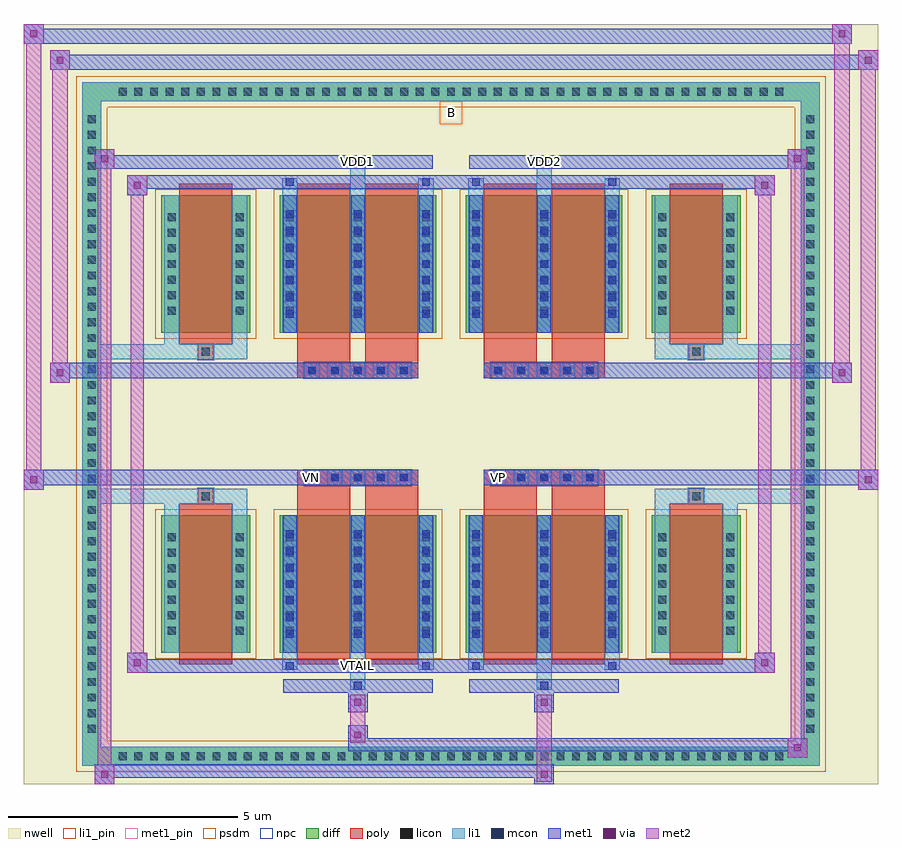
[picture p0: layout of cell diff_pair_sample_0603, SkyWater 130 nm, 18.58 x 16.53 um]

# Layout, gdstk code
import gdstk
lib = gdstk.Library(unit=1e-6, precision=5e-09)
def R(c, l, rs):  # rectangles x0, y0, x1, y1
    for r in rs: c.add(gdstk.rectangle(r[:2], r[2:], *l))
def A(c, l, x, y, w, h, nx, ny, dx, dy):  # array of equal rectangles
    R(c, l, [(x+i*dx, y+j*dy, x+i*dx+w, y+j*dy+h) for i in range(nx) for j in range(ny)])
def P(c, l, *ps):  # polygons
    for p in ps: c.add(gdstk.Polygon(p, *l))
nwell = (64, 20)
diff = (65, 20)
poly = (66, 20)
licon = (66, 44)
li1_pin = (67, 16)
li1 = (67, 20)
mcon = (67, 44)
met1_pin = (68, 16)
met1 = (68, 20)
via = (68, 44)
met2 = (69, 20)
psdm = (94, 20)
npc = (95, 20)

diff_pair_sample_0603 = lib.new_cell('diff_pair_sample_0603')
R(diff_pair_sample_0603, nwell, [(-9.29,-7.83,9.29,8.7), (-6.61,-6.02,-0.01,-0.8), (0.01,-6.02,6.61,-0.8), (-6.61,0.8,-0.01,6.02), (0.01,0.8,6.61,6.02)])
A(diff_pair_sample_0603, diff, -7.345, -7.43, 0.41, 0.41, 43, 2, 0.34, 14.45)
A(diff_pair_sample_0603, diff, -8.02, -6.835, 0.41, 0.41, 1, 40, 0, 0.34)
A(diff_pair_sample_0603, diff, 7.61, -6.835, 0.41, 0.41, 1, 40, 0, 0.34)
R(diff_pair_sample_0603, diff, [(-7.345,-7.43,7.345,-7.02), (-8.02,-6.835,-7.61,6.835), (7.61,-6.835,8.02,6.835), (-6.3,-4.975,-4.37,-1.985), (-3.73,-4.975,-0.32,-1.985), (0.32,-4.975,3.73,-1.985), (4.37,-4.975,6.3,-1.985), (-6.3,1.985,-4.37,4.975), (-3.73,1.985,-0.32,4.975), (0.32,1.985,3.73,4.975), (4.37,1.985,6.3,4.975), (-7.345,7.02,7.345,7.43)])
P(diff_pair_sample_0603, diff, [(8.02,7.43),(-8.02,7.43),(-8.02,-7.02),(-7.61,-7.02),(-7.61,7.02),(7.61,7.02),(7.61,-7.02),(-7.61,-7.02),(-8.02,-7.02),(-8.02,-7.43),(8.02,-7.43)])
A(diff_pair_sample_0603, poly, -3.19, -1.33, 0.33, 0.33, 5, 2, 0.5, 2.33)
A(diff_pair_sample_0603, poly, 0.86, -1.33, 0.33, 0.33, 5, 2, 0.5, 2.33)
R(diff_pair_sample_0603, poly, [(-5.91,-5.225,-4.76,-1.735), (-3.34,-5.225,-2.19,-1.735), (-1.86,-5.225,-0.71,-1.735), (0.71,-5.225,1.86,-1.735), (2.19,-5.225,3.34,-1.735), (4.76,-5.225,5.91,-1.735), (-5.5,-1.735,-5.17,-1.405), (-5.5,-1.735,-5.17,-1.405), (-3.34,-1.735,-2.19,-1.33), (-1.86,-1.735,-0.71,-1.33), (0.71,-1.735,1.86,-1.33), (2.19,-1.735,3.34,-1.33), (5.17,-1.735,5.5,-1.405), (5.17,-1.735,5.5,-1.405), (-3.34,-1.33,-0.71,-1), (0.71,-1.33,3.34,-1), (-3.34,1,-0.71,1.33), (0.71,1,3.34,1.33), (-3.34,1.33,-2.19,1.735), (-1.86,1.33,-0.71,1.735), (0.71,1.33,1.86,1.735), (2.19,1.33,3.34,1.735), (-5.5,1.405,-5.17,1.735), (-5.5,1.405,-5.17,1.735), (5.17,1.405,5.5,1.735), (5.17,1.405,5.5,1.735), (-5.91,1.735,-4.76,5.225), (-3.34,1.735,-2.19,5.225), (-1.86,1.735,-0.71,5.225), (0.71,1.735,1.86,5.225), (2.19,1.735,3.34,5.225), (4.76,1.735,5.91,5.225)])
A(diff_pair_sample_0603, licon, -7.225, -7.31, 0.17, 0.17, 43, 2, 0.34, 14.45)
A(diff_pair_sample_0603, licon, -7.9, -6.715, 0.17, 0.17, 1, 40, 0, 0.34)
A(diff_pair_sample_0603, licon, 7.73, -6.715, 0.17, 0.17, 1, 40, 0, 0.34)
A(diff_pair_sample_0603, licon, -6.16, -4.585, 0.17, 0.17, 1, 7, 0, 0.34)
A(diff_pair_sample_0603, licon, -4.68, -4.585, 0.17, 0.17, 1, 7, 0, 0.34)
A(diff_pair_sample_0603, licon, -3.59, -4.585, 0.17, 0.17, 3, 7, 1.48, 0.34)
A(diff_pair_sample_0603, licon, 0.46, -4.585, 0.17, 0.17, 3, 7, 1.48, 0.34)
A(diff_pair_sample_0603, licon, 4.51, -4.585, 0.17, 0.17, 1, 7, 0, 0.34)
A(diff_pair_sample_0603, licon, 5.99, -4.585, 0.17, 0.17, 1, 7, 0, 0.34)
A(diff_pair_sample_0603, licon, -3.11, -1.25, 0.17, 0.17, 5, 2, 0.5, 2.33)
A(diff_pair_sample_0603, licon, 0.94, -1.25, 0.17, 0.17, 5, 2, 0.5, 2.33)
A(diff_pair_sample_0603, licon, -6.16, 2.375, 0.17, 0.17, 1, 7, 0, 0.34)
A(diff_pair_sample_0603, licon, -4.68, 2.375, 0.17, 0.17, 1, 7, 0, 0.34)
A(diff_pair_sample_0603, licon, -3.59, 2.375, 0.17, 0.17, 3, 7, 1.48, 0.34)
A(diff_pair_sample_0603, licon, 0.46, 2.375, 0.17, 0.17, 3, 7, 1.48, 0.34)
A(diff_pair_sample_0603, licon, 4.51, 2.375, 0.17, 0.17, 1, 7, 0, 0.34)
A(diff_pair_sample_0603, licon, 5.99, 2.375, 0.17, 0.17, 1, 7, 0, 0.34)
R(diff_pair_sample_0603, licon, [(-5.42,-1.655,-5.25,-1.485), (5.25,-1.655,5.42,-1.485), (-5.42,1.485,-5.25,1.655), (5.25,1.485,5.42,1.655)])
R(diff_pair_sample_0603, li1_pin, [(-0.25,6.52,0.25,7.02)])
A(diff_pair_sample_0603, li1, -7.305, -7.39, 0.33, 0.33, 43, 2, 0.34, 14.45)
A(diff_pair_sample_0603, li1, -7.98, -6.795, 0.33, 0.33, 1, 40, 0, 0.34)
A(diff_pair_sample_0603, li1, 7.65, -6.795, 0.33, 0.33, 1, 40, 0, 0.34)
A(diff_pair_sample_0603, li1, -3.67, -4.975, 0.33, 2.99, 3, 2, 1.48, 6.96)
A(diff_pair_sample_0603, li1, 0.38, -4.975, 0.33, 2.99, 3, 2, 1.48, 6.96)
A(diff_pair_sample_0603, li1, -6.24, -4.665, 0.33, 0.33, 1, 7, 0, 0.34)
A(diff_pair_sample_0603, li1, -4.76, -4.665, 0.33, 0.33, 1, 7, 0, 0.34)
A(diff_pair_sample_0603, li1, -3.67, -4.665, 0.33, 0.33, 3, 7, 1.48, 0.34)
A(diff_pair_sample_0603, li1, 0.38, -4.665, 0.33, 0.33, 3, 7, 1.48, 0.34)
A(diff_pair_sample_0603, li1, 4.43, -4.665, 0.33, 0.33, 1, 7, 0, 0.34)
A(diff_pair_sample_0603, li1, 5.91, -4.665, 0.33, 0.33, 1, 7, 0, 0.34)
A(diff_pair_sample_0603, li1, -3.59, -4.645, 0.17, 0.17, 3, 7, 1.48, 0.36)
A(diff_pair_sample_0603, li1, -3.59, -4.645, 0.17, 2.33, 3, 2, 1.48, 6.96)
A(diff_pair_sample_0603, li1, 0.46, -4.645, 0.17, 0.17, 3, 7, 1.48, 0.36)
A(diff_pair_sample_0603, li1, 0.46, -4.645, 0.17, 2.33, 3, 2, 1.48, 6.96)
A(diff_pair_sample_0603, li1, -3.19, -1.33, 0.33, 0.33, 5, 2, 0.5, 2.33)
A(diff_pair_sample_0603, li1, 0.86, -1.33, 0.33, 0.33, 5, 2, 0.5, 2.33)
A(diff_pair_sample_0603, li1, -6.24, 2.295, 0.33, 0.33, 1, 7, 0, 0.34)
A(diff_pair_sample_0603, li1, -4.76, 2.295, 0.33, 0.33, 1, 7, 0, 0.34)
A(diff_pair_sample_0603, li1, -3.67, 2.295, 0.33, 0.33, 3, 7, 1.48, 0.34)
A(diff_pair_sample_0603, li1, 0.38, 2.295, 0.33, 0.33, 3, 7, 1.48, 0.34)
A(diff_pair_sample_0603, li1, 4.43, 2.295, 0.33, 0.33, 1, 7, 0, 0.34)
A(diff_pair_sample_0603, li1, 5.91, 2.295, 0.33, 0.33, 1, 7, 0, 0.34)
A(diff_pair_sample_0603, li1, -3.59, 2.315, 0.17, 0.17, 3, 7, 1.48, 0.36)
A(diff_pair_sample_0603, li1, 0.46, 2.315, 0.17, 0.17, 3, 7, 1.48, 0.36)
R(diff_pair_sample_0603, li1, [(-8.02,-7.43,-7.61,-7.02), (-8.02,-7.43,-7.61,-7.02), (-7.61,-7.43,7.61,-7.02), (7.61,-7.43,8.02,-7.02), (7.61,-7.43,8.02,-7.02), (-8.02,-7.02,-7.61,7.02), (7.61,-7.02,8.02,7.02), (-2.19,-5.78,-1.86,-4.975), (-2.11,-5.78,-1.94,-5.61), (1.86,-5.78,2.19,-4.975), (1.94,-5.78,2.11,-5.61), (-3.67,-5.35,-3.34,-4.975), (-3.59,-5.35,-3.42,-5.18), (-0.71,-5.35,-0.38,-4.975), (-0.63,-5.35,-0.46,-5.18), (0.38,-5.35,0.71,-4.975), (0.46,-5.35,0.63,-5.18), (3.34,-5.35,3.67,-4.975), (3.42,-5.35,3.59,-5.18), (-6.24,-4.975,-5.91,-1.985), (-4.76,-4.975,-4.43,-1.985), (4.43,-4.975,4.76,-1.985), (5.91,-4.975,6.24,-1.985), (-6.24,-1.985,-5.91,-1.405), (-4.76,-1.985,-4.43,-1.405), (4.43,-1.985,4.76,-1.405), (5.91,-1.985,6.24,-1.405), (-8.02,-1.735,-5.5,-1.405), (-6.24,-1.735,-5.5,-1.405), (-5.5,-1.735,-5.17,-1.405), (-5.17,-1.735,-4.43,-1.405), (4.43,-1.735,5.17,-1.405), (5.17,-1.735,5.5,-1.405), (5.17,-1.735,8.02,-1.405), (5.5,-1.735,6.24,-1.405), (-8.02,1.405,-5.5,1.735), (-6.24,1.405,-5.5,1.735), (-6.24,1.405,-5.91,1.985), (-5.5,1.405,-5.17,1.735), (-5.17,1.405,-4.43,1.735), (-4.76,1.405,-4.43,1.985), (4.43,1.405,5.17,1.735), (4.43,1.405,4.76,1.985), (5.17,1.405,5.5,1.735), (5.17,1.405,8.02,1.735), (5.5,1.405,6.24,1.735), (5.91,1.405,6.24,1.985), (-6.24,1.985,-5.91,4.975), (-4.76,1.985,-4.43,4.975), (4.43,1.985,4.76,4.975), (5.91,1.985,6.24,4.975), (-3.67,4.975,-3.34,5.35), (-2.19,4.975,-1.86,5.78), (-0.71,4.975,-0.38,5.35), (0.38,4.975,0.71,5.35), (1.86,4.975,2.19,5.78), (3.34,4.975,3.67,5.35), (-3.59,5.18,-3.42,5.35), (-0.63,5.18,-0.46,5.35), (0.46,5.18,0.63,5.35), (3.42,5.18,3.59,5.35), (-2.11,5.61,-1.94,5.78), (1.94,5.61,2.11,5.78), (-8.02,7.02,-7.61,7.43), (-8.02,7.02,-7.61,7.43), (-7.61,7.02,7.61,7.43), (7.61,7.02,8.02,7.43), (7.61,7.02,8.02,7.43)])
A(diff_pair_sample_0603, mcon, -3.59, -4.645, 0.17, 0.17, 3, 7, 1.48, 0.36)
A(diff_pair_sample_0603, mcon, 0.46, -4.645, 0.17, 0.17, 3, 7, 1.48, 0.36)
A(diff_pair_sample_0603, mcon, -3.11, -1.25, 0.17, 0.17, 5, 2, 0.5, 2.33)
A(diff_pair_sample_0603, mcon, 0.94, -1.25, 0.17, 0.17, 5, 2, 0.5, 2.33)
A(diff_pair_sample_0603, mcon, -3.59, 2.315, 0.17, 0.17, 3, 7, 1.48, 0.36)
A(diff_pair_sample_0603, mcon, 0.46, 2.315, 0.17, 0.17, 3, 7, 1.48, 0.36)
R(diff_pair_sample_0603, mcon, [(-2.11,-5.78,-1.94,-5.61), (1.94,-5.78,2.11,-5.61), (-3.59,-5.35,-3.42,-5.18), (-0.63,-5.35,-0.46,-5.18), (0.46,-5.35,0.63,-5.18), (3.42,-5.35,3.59,-5.18), (-3.59,5.18,-3.42,5.35), (-0.63,5.18,-0.46,5.35), (0.46,5.18,0.63,5.35), (3.42,5.18,3.59,5.35), (-2.11,5.61,-1.94,5.78), (1.94,5.61,2.11,5.78)])
R(diff_pair_sample_0603, met1_pin, [(-2.16,-5.39,-1.89,-5.12), (-3.16,-1.29,-2.89,-1.02), (0.89,-1.29,1.16,-1.02), (-2.16,5.57,-1.89,5.84), (1.89,5.57,2.16,5.84)])
A(diff_pair_sample_0603, met1, -3.65, -4.975, 0.29, 2.99, 3, 2, 1.48, 6.96)
A(diff_pair_sample_0603, met1, 0.4, -4.975, 0.29, 2.99, 3, 2, 1.48, 6.96)
A(diff_pair_sample_0603, met1, -3.65, -4.705, 0.29, 0.29, 3, 7, 1.48, 0.36)
A(diff_pair_sample_0603, met1, 0.4, -4.705, 0.29, 0.29, 3, 7, 1.48, 0.36)
A(diff_pair_sample_0603, met1, -3.17, -1.31, 0.29, 0.29, 5, 2, 0.5, 2.33)
A(diff_pair_sample_0603, met1, 0.88, -1.31, 0.29, 0.29, 5, 2, 0.5, 2.33)
A(diff_pair_sample_0603, met1, -3.65, 2.255, 0.29, 0.29, 3, 7, 1.48, 0.36)
A(diff_pair_sample_0603, met1, 0.4, 2.255, 0.29, 0.29, 3, 7, 1.48, 0.36)
R(diff_pair_sample_0603, met1, [(-7.75,-7.83,-7.32,-7.4), (1.81,-7.83,2.24,-7.4), (-7.75,-7.69,2.24,-7.4), (7.32,-7.26,7.75,-6.83), (-2.24,-7.12,7.75,-6.83), (-2.24,-6.98,-1.81,-6.55), (-2.24,-6.27,-1.81,-5.84), (1.81,-6.27,2.24,-5.84), (-3.65,-5.84,-0.4,-5.55), (-2.17,-5.84,-1.88,-5.55), (0.4,-5.84,3.65,-5.55), (1.88,-5.84,2.17,-5.55), (-7.04,-5.41,-6.61,-4.98), (-7.04,-5.41,-3.65,-5.12), (-3.65,-5.41,-3.36,-5.12), (-3.65,-5.41,-0.4,-5.12), (-0.69,-5.41,-0.4,-5.12), (-0.4,-5.41,0.4,-5.12), (0.4,-5.41,0.69,-5.12), (0.4,-5.41,3.65,-5.12), (3.36,-5.41,3.65,-5.12), (3.65,-5.41,7.04,-5.12), (6.61,-5.41,7.04,-4.98), (-9.29,-1.43,-8.86,-1), (8.86,-1.43,9.29,-1), (-9.29,-1.33,-0.71,-1), (-3.34,-1.33,-0.71,-1), (0.71,-1.33,3.34,-1), (0.71,-1.33,9.29,-1), (-8.72,0.9,-8.29,1.33), (8.29,0.9,8.72,1.33), (-8.72,1,-3.34,1.33), (-3.34,1,-0.71,1.33), (0.71,1,3.34,1.33), (3.34,1,8.72,1.33), (-7.04,4.98,-6.61,5.41), (6.61,4.98,7.04,5.41), (-7.04,5.12,-3.65,5.41), (-3.65,5.12,-3.36,5.41), (-3.65,5.12,-0.4,5.41), (-0.69,5.12,-0.4,5.41), (-0.4,5.12,0.4,5.41), (0.4,5.12,0.69,5.41), (0.4,5.12,3.65,5.41), (3.36,5.12,3.65,5.41), (3.65,5.12,7.04,5.41), (-7.75,5.55,-7.32,5.98), (-7.75,5.55,-3.65,5.84), (-3.65,5.55,-0.4,5.84), (-2.17,5.55,-1.88,5.84), (0.4,5.55,3.65,5.84), (1.88,5.55,2.17,5.84), (3.65,5.55,7.75,5.84), (7.32,5.55,7.75,5.98), (-8.72,7.7,-8.29,8.13), (-8.72,7.7,-6.61,8.03), (-6.61,7.7,6.61,8.03), (6.61,7.7,9.29,8.03), (8.86,7.7,9.29,8.13), (-9.29,8.27,-8.86,8.7), (-9.29,8.27,-6.61,8.6), (-6.61,8.27,6.61,8.6), (6.61,8.27,8.72,8.6), (8.29,8.27,8.72,8.7)])
R(diff_pair_sample_0603, via, [(-7.61,-7.69,-7.46,-7.54), (1.95,-7.69,2.1,-7.54), (7.46,-7.12,7.61,-6.97), (-2.1,-6.84,-1.95,-6.69), (-2.1,-6.13,-1.95,-5.98), (1.95,-6.13,2.1,-5.98), (-6.9,-5.27,-6.75,-5.12), (6.75,-5.27,6.9,-5.12), (-9.15,-1.29,-9,-1.14), (9,-1.29,9.15,-1.14), (-8.58,1.04,-8.43,1.19), (8.43,1.04,8.58,1.19), (-6.9,5.12,-6.75,5.27), (6.75,5.12,6.9,5.27), (-7.61,5.69,-7.46,5.84), (7.46,5.69,7.61,5.84), (-8.58,7.84,-8.43,7.99), (9,7.84,9.15,7.99), (-9.15,8.41,-9,8.56), (8.43,8.41,8.58,8.56)])
R(diff_pair_sample_0603, met2, [(-7.75,-7.83,-7.32,-7.4), (-7.68,-7.83,-7.39,5.98), (-7.39,-7.83,-7.32,-7.4), (-7.7,-7.78,-7.37,-7.45), (1.86,-7.78,2.19,-7.45), (1.86,-7.45,2.19,-6.22), (7.32,-7.26,7.75,-6.83), (7.39,-7.26,7.68,5.98), (7.68,-7.26,7.75,-6.83), (7.37,-7.21,7.7,-6.88), (-2.19,-6.93,-1.86,-6.6), (-2.19,-6.6,-1.86,-6.22), (-2.19,-6.22,-1.86,-5.89), (1.86,-6.22,2.19,-5.89), (-7.04,-5.41,-6.61,-4.98), (-6.97,-5.41,-6.68,5.41), (-6.68,-5.41,-6.61,-4.98), (6.61,-5.41,7.04,-4.98), (6.68,-5.41,6.97,5.41), (6.97,-5.41,7.04,-4.98), (-6.99,-5.36,-6.66,-5.03), (6.66,-5.36,6.99,-5.03), (-9.29,-1.43,-8.86,-1), (-9.24,-1.43,-8.91,8.7), (-8.91,-1.43,-8.86,-1), (8.86,-1.43,9.29,-1), (8.91,-1.43,9.24,8.13), (9.24,-1.43,9.29,-1), (-9.24,-1.38,-8.91,-1.05), (8.91,-1.38,9.24,-1.05), (-8.72,0.9,-8.29,1.33), (-8.67,0.9,-8.34,8.13), (-8.34,0.9,-8.29,1.33), (8.29,0.9,8.72,1.33), (8.34,0.9,8.67,8.7), (8.67,0.9,8.72,1.33), (-8.67,0.95,-8.34,1.28), (8.34,0.95,8.67,1.28), (-7.04,4.98,-6.61,5.41), (-6.68,4.98,-6.61,5.41), (6.61,4.98,7.04,5.41), (6.97,4.98,7.04,5.41), (-6.99,5.03,-6.66,5.36), (6.66,5.03,6.99,5.36), (-7.75,5.55,-7.32,5.98), (-7.39,5.55,-7.32,5.98), (7.32,5.55,7.75,5.98), (7.68,5.55,7.75,5.98), (-7.7,5.6,-7.37,5.93), (7.37,5.6,7.7,5.93), (-8.72,7.7,-8.29,8.13), (-8.34,7.7,-8.29,8.13), (8.86,7.7,9.29,8.13), (9.24,7.7,9.29,8.13), (-8.67,7.75,-8.34,8.08), (8.91,7.75,9.24,8.08), (-9.29,8.27,-8.86,8.7), (-8.91,8.27,-8.86,8.7), (8.29,8.27,8.72,8.7), (8.67,8.27,8.72,8.7), (-9.24,8.32,-8.91,8.65), (8.34,8.32,8.67,8.65)])
R(diff_pair_sample_0603, psdm, [(-6.43,-5.105,-4.24,-1.855), (-3.86,-5.105,-0.19,-1.855), (0.19,-5.105,3.86,-1.855), (4.24,-5.105,6.43,-1.855), (-6.43,1.855,-4.24,5.105), (-3.86,1.855,-0.19,5.105), (0.19,1.855,3.86,5.105), (4.24,1.855,6.43,5.105)])
P(diff_pair_sample_0603, psdm, [(8.15,7.56),(-8.15,7.56),(-8.15,-6.89),(-7.48,-6.89),(-7.48,6.89),(7.48,6.89),(7.48,-6.89),(-7.48,-6.89),(-8.15,-6.89),(-8.15,-7.56),(8.15,-7.56)])
A(diff_pair_sample_0603, npc, -3.21, -1.35, 0.37, 0.37, 5, 2, 0.5, 2.33)
A(diff_pair_sample_0603, npc, 0.84, -1.35, 0.37, 0.37, 5, 2, 0.5, 2.33)
R(diff_pair_sample_0603, npc, [(-5.52,-1.755,-5.15,-1.385), (5.15,-1.755,5.52,-1.385), (-3.21,-1.35,-2.34,-0.98), (-3.21,-1.35,-2.34,-0.98), (-2.71,-1.35,-1.84,-0.98), (-2.71,-1.35,-1.84,-0.98), (-2.21,-1.35,-1.34,-0.98), (-2.21,-1.35,-1.34,-0.98), (-1.71,-1.35,-0.84,-0.98), (-1.71,-1.35,-0.84,-0.98), (0.84,-1.35,1.71,-0.98), (0.84,-1.35,1.71,-0.98), (1.34,-1.35,2.21,-0.98), (1.34,-1.35,2.21,-0.98), (1.84,-1.35,2.71,-0.98), (1.84,-1.35,2.71,-0.98), (2.34,-1.35,3.21,-0.98), (2.34,-1.35,3.21,-0.98), (-3.21,0.98,-2.34,1.35), (-3.21,0.98,-2.34,1.35), (-2.71,0.98,-1.84,1.35), (-2.71,0.98,-1.84,1.35), (-2.21,0.98,-1.34,1.35), (-2.21,0.98,-1.34,1.35), (-1.71,0.98,-0.84,1.35), (-1.71,0.98,-0.84,1.35), (0.84,0.98,1.71,1.35), (0.84,0.98,1.71,1.35), (1.34,0.98,2.21,1.35), (1.34,0.98,2.21,1.35), (1.84,0.98,2.71,1.35), (1.84,0.98,2.71,1.35), (2.34,0.98,3.21,1.35), (2.34,0.98,3.21,1.35), (-5.52,1.385,-5.15,1.755), (5.15,1.385,5.52,1.755)])
diff_pair_sample_0603.add(gdstk.Label('VTAIL', (-2.025,-5.255), layer=68, texttype=5))
diff_pair_sample_0603.add(gdstk.Label('VN', (-3.025,-1.155), layer=68, texttype=5))
diff_pair_sample_0603.add(gdstk.Label('VP', (1.025,-1.155), layer=68, texttype=5))
diff_pair_sample_0603.add(gdstk.Label('B', (0,6.77), layer=67, texttype=5))
diff_pair_sample_0603.add(gdstk.Label('VDD2', (2.025,5.705), layer=68, texttype=5))
diff_pair_sample_0603.add(gdstk.Label('VDD1', (-2.025,5.705), layer=68, texttype=5))

lib.write_gds('diff_pair_sample_0603.gds')
